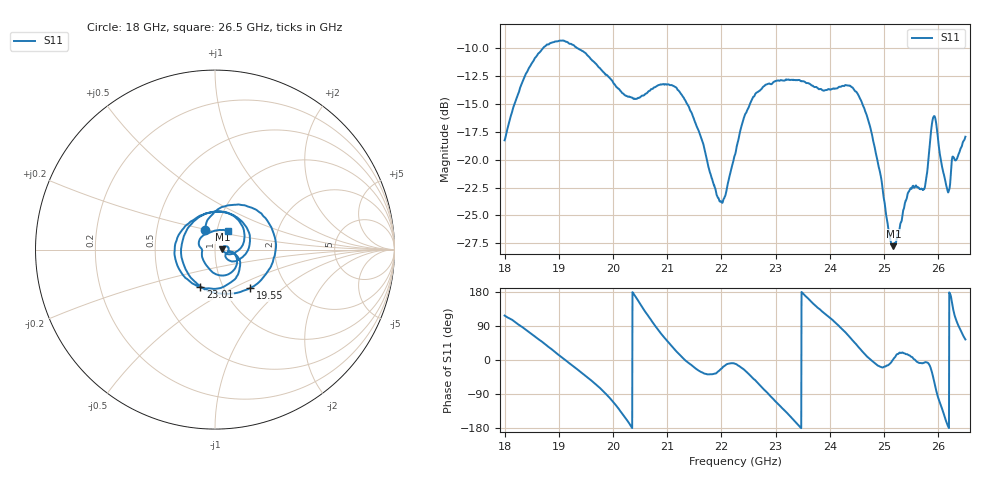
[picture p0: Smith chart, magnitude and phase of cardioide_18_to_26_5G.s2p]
!Keysight Technologies,N5222B,MY60213399,A.14.00.23
!Date: Tuesday, February 27, 2024 20:49:19
!Correction: S11(C  1-Port  )
!S21(Off)
!S12(Off)
!S22(Off)
!S2P File: Measurement: :
# Hz S  dB  R 50
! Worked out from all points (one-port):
!   1601 points, 18 GHz to 26.5 GHz, reference 50 ohm
!   lowest |S11| = -27.8 dB at 25.17 GHz (marker M1), VSWR 1.09, Z = 54.3 + j0.201 ohm
!   |S11| at or under -10 dB: start of sweep to 18.71 GHz; 19.33 GHz to end of sweep
!   S11 on the Smith chart (normalised r, x): 18 GHz: 0.87, +0.19; 19.55 GHz: 1.32, -0.62; 23.01 GHz: 0.78, -0.35; 26.5 GHz: 1.13, +0.24
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1.8e10  -18.27 117.3  -200.00 45.0  -200.00 45.0  -200.00 45.0
1.865344e10  -10.36 51.9  -200.00 45.0  -200.00 45.0  -200.00 45.0
1.904656e10  -9.35 8.1  -200.00 45.0  -200.00 45.0  -200.00 45.0
1.941844e10  -10.23 -33.4  -200.00 45.0  -200.00 45.0  -200.00 45.0
1.954594e10  -10.75 -47.7  -200.00 45.0  -200.00 45.0  -200.00 45.0
1.992844e10  -12.64 -98.5  -200.00 45.0  -200.00 45.0  -200.00 45.0
2.030031e10  -14.36 -167.7  -200.00 45.0  -200.00 45.0  -200.00 45.0
2.083688e10  -13.33 78.7  -200.00 45.0  -200.00 45.0  -200.00 45.0
2.136812e10  -15.04 -4.9  -200.00 45.0  -200.00 45.0  -200.00 45.0
2.197906e10  -23.77 -25.0  -200.00 45.0  -200.00 45.0  -200.00 45.0
2.225e10  -19.57 -10.1  -200.00 45.0  -200.00 45.0  -200.00 45.0
2.258469e10  -14.40 -48.7  -200.00 45.0  -200.00 45.0  -200.00 45.0
2.300969e10  -12.94 -111.1  -200.00 45.0  -200.00 45.0  -200.00 45.0
2.366844e10  -13.36 152.2  -200.00 45.0  -200.00 45.0  -200.00 45.0
2.419438e10  -13.48 85.8  -200.00 45.0  -200.00 45.0  -200.00 45.0
2.453438e10  -14.30 33.1  -200.00 45.0  -200.00 45.0  -200.00 45.0
2.508688e10  -26.50 -12.6  -200.00 45.0  -200.00 45.0  -200.00 45.0
2.517188e10  -27.75 2.6  -200.00 45.0  -200.00 45.0  -200.00 45.0
2.574562e10  -22.57 -6.7  -200.00 45.0  -200.00 45.0  -200.00 45.0
2.591562e10  -16.15 -51.4  -200.00 45.0  -200.00 45.0  -200.00 45.0
2.617594e10  -22.85 -173.5  -200.00 45.0  -200.00 45.0  -200.00 45.0
2.65e10  -17.95 54.2  -200.00 45.0  -200.00 45.0  -200.00 45.0
